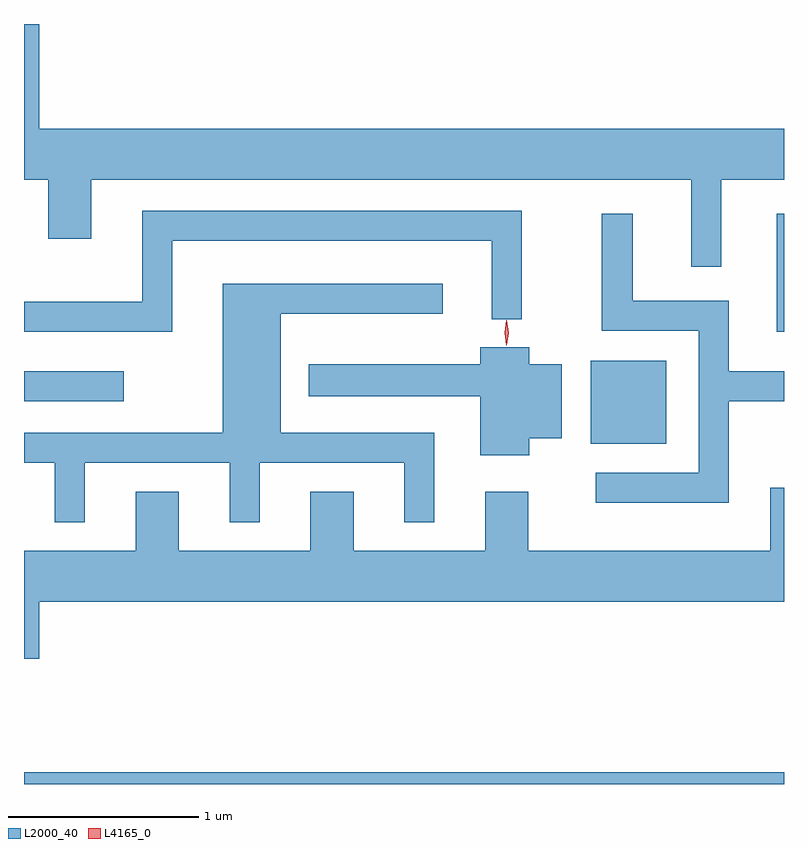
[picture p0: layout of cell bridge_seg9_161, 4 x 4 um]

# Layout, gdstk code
import gdstk
lib = gdstk.Library(unit=1e-6, precision=1e-09)
def R(c, l, rs):  # rectangles x0, y0, x1, y1
    for r in rs: c.add(gdstk.rectangle(r[:2], r[2:], *l))
def P(c, l, *ps):  # polygons
    for p in ps: c.add(gdstk.Polygon(p, *l))
L2000_40 = (2000, 40)
L4165_0 = (4165, 0)

bridge_seg9_161 = lib.new_cell('bridge_seg9_161')
R(bridge_seg9_161, L2000_40, [(1394.084,2053.016,1398.084,2053.079), (1397.066,2054.806,1397.464,2055.244), (1394.084,2055.031,1394.608,2055.189), (1398.046,2055.396,1398.084,2056.018)])
P(bridge_seg9_161, L2000_40, [(1397.754,2056.196),(1398.084,2056.196),(1398.084,2056.464),(1394.164,2056.464),(1394.164,2057.016),(1394.084,2057.016),(1394.084,2056.196),(1394.211,2056.196),(1394.211,2055.886),(1394.439,2055.886),(1394.439,2056.196),(1397.596,2056.196),(1397.596,2055.738),(1397.754,2055.738)],
  [(1394.864,2055.876),(1396.546,2055.876),(1396.546,2055.463),(1396.704,2055.463),(1396.704,2056.034),(1394.706,2056.034),(1394.706,2055.554),(1394.084,2055.554),(1394.084,2055.396),(1394.864,2055.396)],
  [(1397.794,2055.031),(1398.084,2055.031),(1398.084,2055.189),(1397.794,2055.189),(1397.794,2055.559),(1397.289,2055.559),(1397.289,2056.018),(1397.126,2056.018),(1397.126,2055.401),(1397.636,2055.401),(1397.636,2054.654),(1397.093,2054.654),(1397.093,2054.496),(1397.794,2054.496)],
  [(1394.404,2054.706),(1395.166,2054.706),(1395.166,2054.393),(1395.324,2054.393),(1395.324,2054.706),(1396.086,2054.706),(1396.086,2054.393),(1396.244,2054.393),(1396.244,2054.864),(1395.434,2054.864),(1395.434,2055.491),(1396.288,2055.491),(1396.288,2055.649),(1395.131,2055.649),(1395.131,2054.864),(1394.084,2054.864),(1394.084,2054.706),(1394.246,2054.706),(1394.246,2054.393),(1394.404,2054.393)],
  [(1396.744,2054.836),(1396.914,2054.836),(1396.914,2055.224),(1396.744,2055.224),(1396.744,2055.314),(1396.486,2055.314),(1396.486,2055.224),(1395.583,2055.224),(1395.583,2055.056),(1396.486,2055.056),(1396.486,2054.746),(1396.744,2054.746)],
  [(1398.084,2054.574),(1398.011,2054.574),(1398.011,2054.244),(1396.739,2054.244),(1396.739,2054.554),(1396.511,2054.554),(1396.511,2054.244),(1395.819,2054.244),(1395.819,2054.554),(1395.591,2054.554),(1395.591,2054.244),(1394.899,2054.244),(1394.899,2054.554),(1394.671,2054.554),(1394.671,2054.244),(1394.084,2054.244),(1394.084,2053.676),(1394.164,2053.676),(1394.164,2053.976),(1398.084,2053.976)])
P(bridge_seg9_161, L4165_0, [(1396.623,2055.325),(1396.623,2055.325),(1396.613,2055.391),(1396.623,2055.456),(1396.623,2055.457),(1396.624,2055.456),(1396.634,2055.391),(1396.624,2055.325)])

lib.write_gds('bridge_seg9_161.gds')
